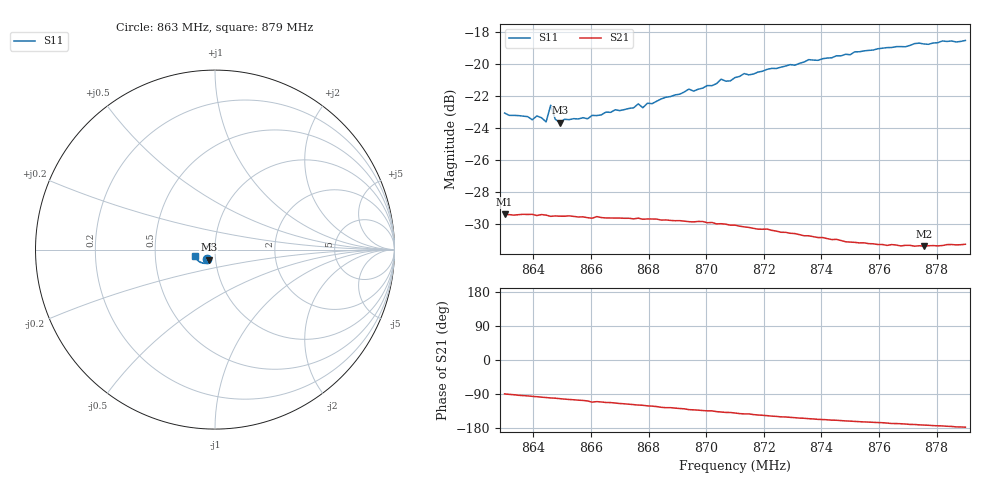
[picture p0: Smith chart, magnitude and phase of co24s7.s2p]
# HZ S RI R 50
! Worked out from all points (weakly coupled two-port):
!   101 points, 863 MHz to 879 MHz, reference 50 ohm
!   highest |S21| = -29.40 dB at 863 MHz (marker M1); lowest = -31.4 dB at 877.56 MHz (marker M2)
!   lowest |S11| = -23.7 dB at 864.92 MHz (marker M3), VSWR 1.14, Z = 46.4 - j5.18 ohm
!   |S11| at or under -10 dB: start of sweep to end of sweep
!   S12 and S22 are empty: the file has one direction only
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8.63e8  -0.0444 -0.0544  0.000349 -0.0339  0 0  0 0
8.6396e8  -0.0387 -0.0545  -0.0035 -0.0337  0 0  0 0
8.6412e8  -0.0386 -0.0569  -0.00401 -0.0333  0 0  0 0
8.6444e8  -0.0371 -0.0544  -0.00527 -0.0333  0 0  0 0
8.646e8  -0.0479 -0.0567  -0.00593 -0.0329  0 0  0 0
8.6476e8  -0.0361 -0.0565  -0.00628 -0.0329  0 0  0 0
8.6492e8  -0.0347 -0.0556  -0.00698 -0.0327  0 0  0 0
8.6572e8  -0.0333 -0.0592  -0.00958 -0.0319  0 0  0 0
8.6748e8  -0.0334 -0.0648  -0.0153 -0.029  0 0  0 0
8.6764e8  -0.0351 -0.0662  -0.0159 -0.0288  0 0  0 0
8.678e8  -0.0343 -0.0644  -0.0161 -0.0284  0 0  0 0
8.6844e8  -0.0367 -0.0685  -0.0186 -0.0267  0 0  0 0
8.694e8  -0.0413 -0.0724  -0.0211 -0.0242  0 0  0 0
8.6956e8  -0.0411 -0.0711  -0.0212 -0.024  0 0  0 0
8.702e8  -0.0419 -0.0745  -0.0223 -0.0229  0 0  0 0
8.7052e8  -0.0483 -0.0754  -0.0232 -0.0215  0 0  0 0
8.7084e8  -0.0474 -0.0747  -0.0235 -0.0208  0 0  0 0
8.71e8  -0.0497 -0.0757  -0.024 -0.0202  0 0  0 0
8.7372e8  -0.0701 -0.0751  -0.0263 -0.0119  0 0  0 0
8.7644e8  -0.0942 -0.0614  -0.0266 -0.00583  0 0  0 0
8.7756e8  -0.103 -0.0519  -0.0267 -0.00389  0 0  0 0
8.79e8  -0.1122 -0.0375  -0.0273 -0.00127  0 0  0 0
